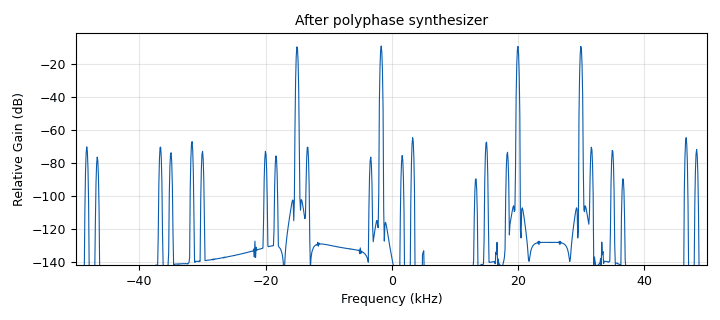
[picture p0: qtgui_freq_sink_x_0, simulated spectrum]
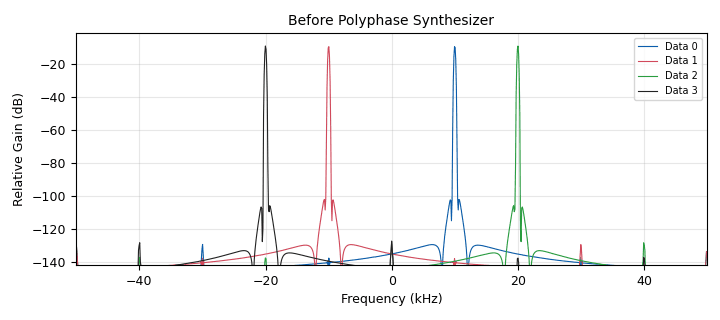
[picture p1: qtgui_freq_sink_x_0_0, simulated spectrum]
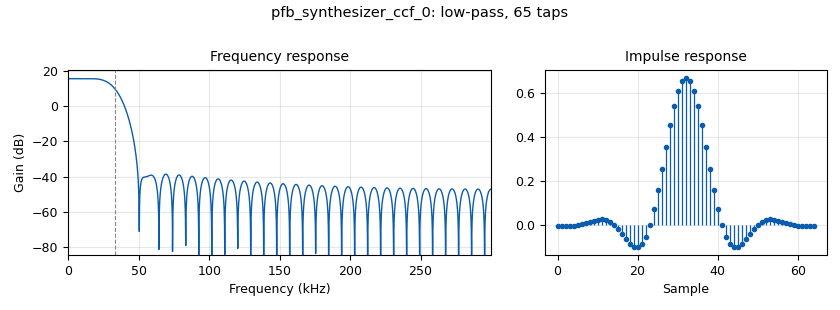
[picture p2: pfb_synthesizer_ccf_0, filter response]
<?xml version='1.0' encoding='utf-8'?>
<?grc format='1' created='3.7.10'?>
<flow_graph>
<block>
<key>options</key>
<param><key>id</key><value>fdm_chanalizer_tx</value></param>
<param><key>author</key><value>Alexandros-Apostolos A. Boulogeorgos</value></param>
<param><key>description</key><value>A simple example that demonstrates the use of the polyphase synthesizer.</value></param>
<param><key>generate_options</key><value>qt_gui</value></param>
<param><key>title</key><value>FDM channalizer TX</value></param>
</block>
<block>
<key>variable</key>
<param><key>id</key><value>channel_map</value></param>
<param><key>value</key><value>[5,0,1,2,3,4]</value></param>
</block>
<block>
<key>variable</key>
<param><key>id</key><value>samp_rate</value></param>
<param><key>value</key><value>100000</value></param>
</block>
<block>
<key>variable</key>
<param><key>id</key><value>taps</value></param>
<param><key>value</key><value>firdes.low_pass_2(6, 6*samp_rate, samp_rate/3.0, samp_rate/4.0, 60)

</value></param>
</block>
<block>
<key>analog_sig_source_x</key>
<param><key>id</key><value>analog_sig_source_x_0</value></param>
<param><key>amp</key><value>1</value></param>
<param><key>freq</key><value>10000</value></param>
<param><key>offset</key><value>0</value></param>
<param><key>type</key><value>complex</value></param>
<param><key>samp_rate</key><value>samp_rate</value></param>
<param><key>waveform</key><value>analog.GR_COS_WAVE</value></param>
</block>
<block>
<key>analog_sig_source_x</key>
<param><key>id</key><value>analog_sig_source_x_0_0</value></param>
<param><key>amp</key><value>1</value></param>
<param><key>freq</key><value>-10000</value></param>
<param><key>offset</key><value>0</value></param>
<param><key>type</key><value>complex</value></param>
<param><key>samp_rate</key><value>samp_rate</value></param>
<param><key>waveform</key><value>analog.GR_COS_WAVE</value></param>
</block>
<block>
<key>analog_sig_source_x</key>
<param><key>id</key><value>analog_sig_source_x_0_0_0</value></param>
<param><key>amp</key><value>1</value></param>
<param><key>freq</key><value>20000</value></param>
<param><key>offset</key><value>0</value></param>
<param><key>type</key><value>complex</value></param>
<param><key>samp_rate</key><value>samp_rate</value></param>
<param><key>waveform</key><value>analog.GR_COS_WAVE</value></param>
</block>
<block>
<key>analog_sig_source_x</key>
<param><key>id</key><value>analog_sig_source_x_0_0_0_0</value></param>
<param><key>amp</key><value>1</value></param>
<param><key>freq</key><value>-20000</value></param>
<param><key>offset</key><value>0</value></param>
<param><key>type</key><value>complex</value></param>
<param><key>samp_rate</key><value>samp_rate</value></param>
<param><key>waveform</key><value>analog.GR_COS_WAVE</value></param>
</block>
<block>
<key>blocks_throttle</key>
<param><key>id</key><value>blocks_throttle_0</value></param>
<param><key>samples_per_second</key><value>samp_rate</value></param>
<param><key>type</key><value>complex</value></param>
</block>
<block>
<key>pfb_synthesizer_ccf</key>
<param><key>id</key><value>pfb_synthesizer_ccf_0</value></param>
<param><key>twox</key><value>False</value></param>
<param><key>bus_conns</key><value>[[0,],]</value></param>
<param><key>ch_map</key><value>channel_map</value></param>
<param><key>numchans</key><value>6</value></param>
<param><key>connections</key><value>4</value></param>
<param><key>taps</key><value>taps</value></param>
</block>
<block>
<key>qtgui_freq_sink_x</key>
<param><key>id</key><value>qtgui_freq_sink_x_0</value></param>
<param><key>autoscale</key><value>True</value></param>
<param><key>bw</key><value>samp_rate</value></param>
<param><key>fc</key><value>0</value></param>
<param><key>fftsize</key><value>1024</value></param>
<param><key>gui_hint</key><value>0,1,1,1</value></param>
<param><key>name</key><value>"After polyphase synthesizer"</value></param>
<param><key>showports</key><value>True</value></param>
<param><key>type</key><value>complex</value></param>
<param><key>wintype</key><value>firdes.WIN_BLACKMAN_hARRIS</value></param>
</block>
<block>
<key>qtgui_freq_sink_x</key>
<param><key>id</key><value>qtgui_freq_sink_x_0_0</value></param>
<param><key>autoscale</key><value>True</value></param>
<param><key>bw</key><value>samp_rate</value></param>
<param><key>fc</key><value>0</value></param>
<param><key>fftsize</key><value>1024</value></param>
<param><key>gui_hint</key><value>0,0,1,1</value></param>
<param><key>label2</key><value></value></param>
<param><key>label3</key><value></value></param>
<param><key>label4</key><value></value></param>
<param><key>name</key><value>"Before Polyphase Synthesizer"</value></param>
<param><key>nconnections</key><value>4</value></param>
<param><key>showports</key><value>True</value></param>
<param><key>type</key><value>complex</value></param>
<param><key>wintype</key><value>firdes.WIN_BLACKMAN_hARRIS</value></param>
</block>
<connection><source_block_id>analog_sig_source_x_0</source_block_id><sink_block_id>pfb_synthesizer_ccf_0</sink_block_id><source_key>0</source_key><sink_key>0</sink_key></connection>
<connection><source_block_id>analog_sig_source_x_0</source_block_id><sink_block_id>qtgui_freq_sink_x_0_0</sink_block_id><source_key>0</source_key><sink_key>0</sink_key></connection>
<connection><source_block_id>analog_sig_source_x_0_0</source_block_id><sink_block_id>pfb_synthesizer_ccf_0</sink_block_id><source_key>0</source_key><sink_key>1</sink_key></connection>
<connection><source_block_id>analog_sig_source_x_0_0</source_block_id><sink_block_id>qtgui_freq_sink_x_0_0</sink_block_id><source_key>0</source_key><sink_key>1</sink_key></connection>
<connection><source_block_id>analog_sig_source_x_0_0_0</source_block_id><sink_block_id>pfb_synthesizer_ccf_0</sink_block_id><source_key>0</source_key><sink_key>2</sink_key></connection>
<connection><source_block_id>analog_sig_source_x_0_0_0</source_block_id><sink_block_id>qtgui_freq_sink_x_0_0</sink_block_id><source_key>0</source_key><sink_key>2</sink_key></connection>
<connection><source_block_id>analog_sig_source_x_0_0_0_0</source_block_id><sink_block_id>pfb_synthesizer_ccf_0</sink_block_id><source_key>0</source_key><sink_key>3</sink_key></connection>
<connection><source_block_id>analog_sig_source_x_0_0_0_0</source_block_id><sink_block_id>qtgui_freq_sink_x_0_0</sink_block_id><source_key>0</source_key><sink_key>3</sink_key></connection>
<connection><source_block_id>blocks_throttle_0</source_block_id><sink_block_id>qtgui_freq_sink_x_0</sink_block_id><source_key>0</source_key><sink_key>0</sink_key></connection>
<connection><source_block_id>pfb_synthesizer_ccf_0</source_block_id><sink_block_id>blocks_throttle_0</sink_block_id><source_key>0</source_key><sink_key>0</sink_key></connection>
</flow_graph>
